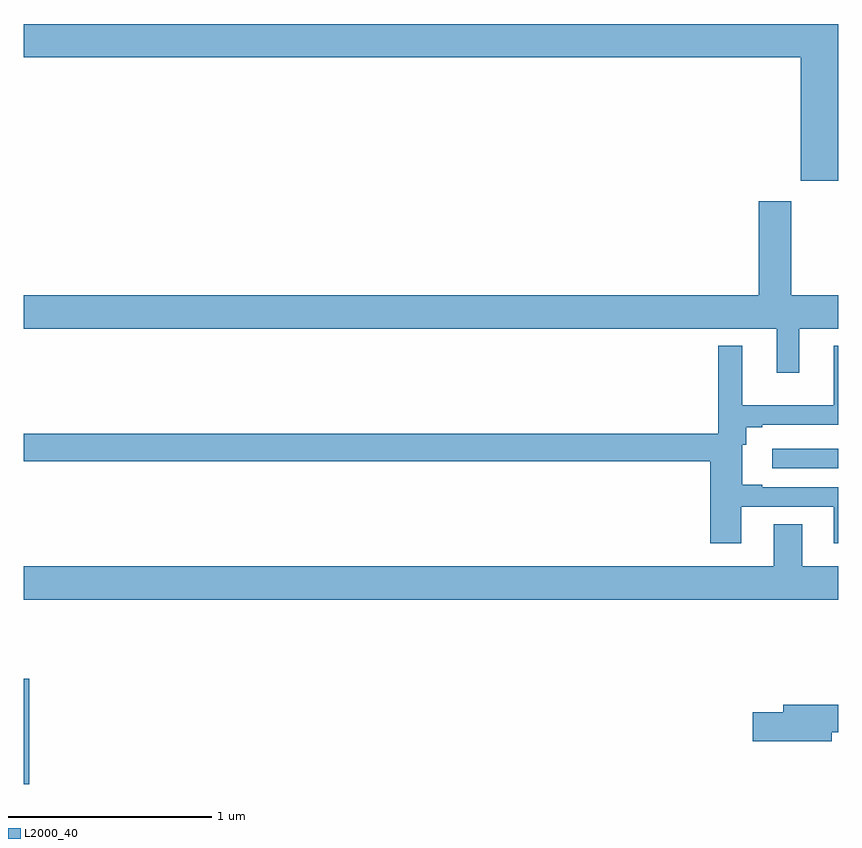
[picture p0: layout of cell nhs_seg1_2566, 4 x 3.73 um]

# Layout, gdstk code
import gdstk
lib = gdstk.Library(unit=1e-6, precision=1e-09)
def R(c, l, rs):  # rectangles x0, y0, x1, y1
    for r in rs: c.add(gdstk.rectangle(r[:2], r[2:], *l))
def P(c, l, *ps):  # polygons
    for p in ps: c.add(gdstk.Polygon(p, *l))
L2000_40 = (2000, 40)

nhs_seg1_2566 = lib.new_cell('nhs_seg1_2566')
R(nhs_seg1_2566, L2000_40, [(251,512.199,251.027,512.716), (254.676,513.75,255,513.846)])
P(nhs_seg1_2566, L2000_40, [(255,515.932),(251,515.932),(251,515.768),(254.816,515.768),(254.816,515.162),(255,515.162)],
  [(254.809,514.436),(255,514.436),(255,514.6),(254.769,514.6),(254.769,515.062),(254.609,515.062),(254.609,514.6),(251,514.6),(251,514.436),(254.699,514.436),(254.699,514.218),(254.809,514.218)],
  [(254.524,513.561),(254.978,513.561),(254.978,513.381),(255,513.381),(255,513.657),(254.626,513.657),(254.626,513.67),(254.53,513.67),(254.53,513.866),(254.548,513.866),(254.548,513.951),(254.626,513.951),(254.626,513.963),(255,513.963),(255,514.351),(254.978,514.351),(254.978,514.06),(254.53,514.06),(254.53,514.351),(254.412,514.351),(254.412,513.92),(251,513.92),(251,513.784),(254.372,513.784),(254.372,513.381),(254.524,513.381)],
  [(255,513.268),(254.824,513.268),(254.824,513.476),(254.684,513.476),(254.684,513.268),(251,513.268),(251,513.104),(255,513.104)],
  [(254.968,512.452),(255,512.452),(255,512.588),(254.729,512.588),(254.729,512.552),(254.58,512.552),(254.58,512.41),(254.968,512.41)])

lib.write_gds('nhs_seg1_2566.gds')
